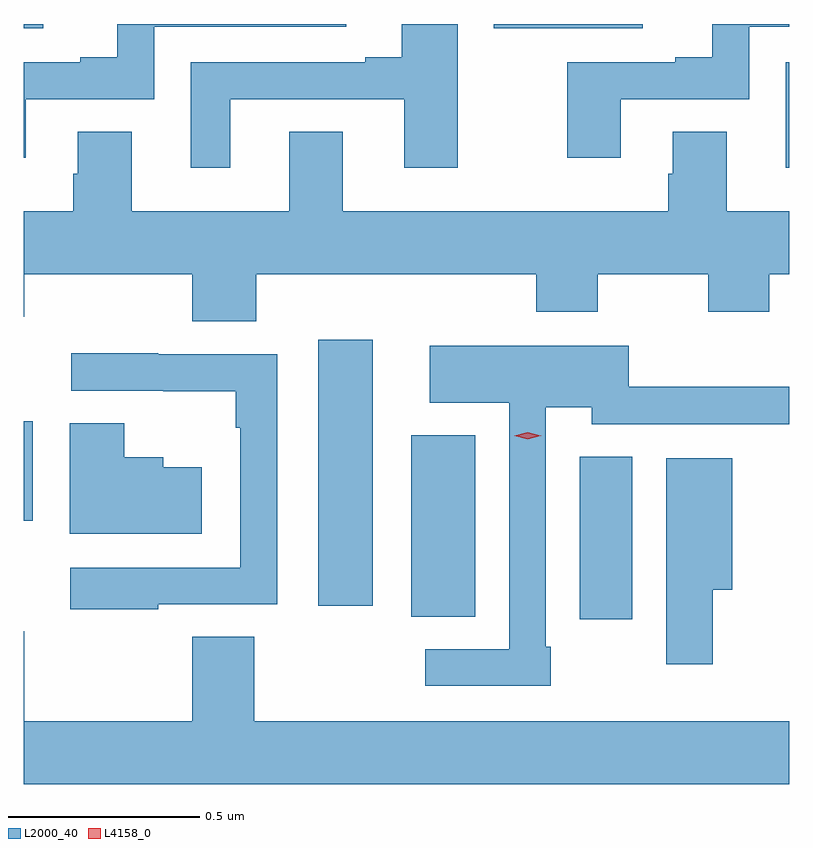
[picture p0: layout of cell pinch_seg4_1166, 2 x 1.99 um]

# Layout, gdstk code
import gdstk
lib = gdstk.Library(unit=1e-6, precision=1e-09)
def R(c, l, rs):  # rectangles x0, y0, x1, y1
    for r in rs: c.add(gdstk.rectangle(r[:2], r[2:], *l))
def P(c, l, *ps):  # polygons
    for p in ps: c.add(gdstk.Polygon(p, *l))
L2000_40 = (2000, 40)
L4158_0 = (4158, 0)

pinch_seg4_1166 = lib.new_cell('pinch_seg4_1166')
R(pinch_seg4_1166, L2000_40, [(474.161,789.258,474.298,789.683), (473.72,789.265,473.887,789.739), (473.477,789.294,473.62,789.988), (472.708,789.515,472.732,789.775), (474.698,790.437,474.708,790.713), (472.708,790.802,472.759,790.813), (473.936,790.802,474.325,790.813)])
P(pinch_seg4_1166, L2000_40, [(473.248,790.617),(473.702,790.617),(473.702,790.437),(473.842,790.437),(473.842,790.813),(473.696,790.813),(473.696,790.726),(473.6,790.726),(473.6,790.713),(473.144,790.713),(473.144,790.437),(473.248,790.437)],
  [(474.268,790.617),(474.603,790.617),(474.603,790.806),(474.708,790.806),(474.708,790.813),(474.506,790.813),(474.506,790.726),(474.41,790.726),(474.41,790.713),(474.128,790.713),(474.128,790.464),(474.268,790.464)],
  [(472.714,790.617),(473.049,790.617),(473.049,790.806),(473.551,790.806),(473.551,790.813),(472.952,790.813),(472.952,790.726),(472.856,790.726),(472.856,790.713),(472.708,790.713),(472.708,790.464),(472.714,790.464)],
  [(472.99,790.532),(472.85,790.532),(472.85,790.422),(472.838,790.422),(472.838,790.324),(472.708,790.324),(472.708,790.048),(472.709,790.048),(472.709,790.16),(473.149,790.16),(473.149,790.036),(473.315,790.036),(473.315,790.16),(474.047,790.16),(474.047,790.061),(474.207,790.061),(474.207,790.16),(474.496,790.16),(474.496,790.061),(474.656,790.061),(474.656,790.16),(474.708,790.16),(474.708,790.324),(474.544,790.324),(474.544,790.532),(474.404,790.532),(474.404,790.422),(474.392,790.422),(474.392,790.324),(473.542,790.324),(473.542,790.532),(473.402,790.532),(473.402,790.324),(472.99,790.324)],
  [(474.085,789.187),(474.072,789.187),(474.072,789.812),(474.192,789.812),(474.192,789.768),(474.701,789.768),(474.701,789.767),(474.708,789.767),(474.708,789.866),(474.288,789.866),(474.288,789.973),(473.769,789.973),(473.769,789.824),(473.976,789.824),(473.976,789.18),(473.757,789.18),(473.757,789.084),(474.085,789.084)],
  [(473.06,789.297),(473.37,789.297),(473.37,789.951),(473.06,789.951),(473.06,789.953),(472.833,789.953),(472.833,789.855),(473.073,789.855),(473.073,789.854),(473.262,789.854),(473.262,789.758),(473.274,789.758),(473.274,789.393),(472.83,789.393),(472.83,789.285),(473.06,789.285)],
  [(473.173,789.655),(473.073,789.655),(473.073,789.682),(472.971,789.682),(472.971,789.77),(472.829,789.77),(472.829,789.482),(473.173,789.482)],
  [(474.508,789.335),(474.559,789.335),(474.559,789.679),(474.386,789.679),(474.386,789.141),(474.508,789.141)],
  [(474.708,788.992),(473.31,788.992),(473.31,789.212),(473.149,789.212),(473.149,788.992),(472.709,788.992),(472.709,789.227),(472.708,789.227),(472.708,788.828),(474.708,788.828)])
P(pinch_seg4_1166, L4158_0, [(474.025,789.728),(473.99,789.738),(473.99,789.738),(473.99,789.738),(474.025,789.747),(474.059,789.737),(474.06,789.737),(474.059,789.737)])

lib.write_gds('pinch_seg4_1166.gds')
